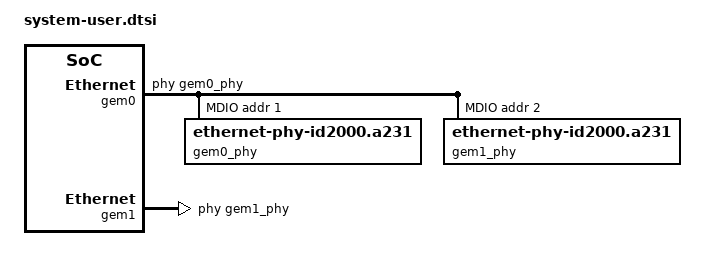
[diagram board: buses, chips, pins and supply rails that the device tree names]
// SPDX-License-Identifier: MIT
// Copyright (C) 2025-2026, Opsero Electronic Design Inc.  All rights reserved.

/*
 * SoC-side board fixups for vmk180 (Versal), layered on top of the
 * gen-machineconf / lopper-generated Linux device tree (which already carries
 * the PS config and the design's PL hardware from the XSA). Scoped to the Linux
 * domain by device-tree.bbappend. Ported from the Ethernet FMC Max AXI Ethernet PetaLinux BSP.
 */

/* Board RJ45s (GEM0 = u198 PHY, GEM1 = u134 PHY): the SDT flow does not
 * describe the board-level TI DP83867 PHYs, so Linux falls back to the
 * Generic PHY driver and the RGMII clock delays are never programmed -
 * the link negotiates 1G but passes no packets. Both PHYs sit on GEM0's
 * MDIO bus (GEM1 has no MDIO: xlnx,has-mdio=0, matching the board).
 * Values from the official versal-vmk180-revA.dts (VMK180 = VCK190 for
 * Ethernet); reset-gpios omitted because the SDT device tree does not define the
 * gpio1 label - the PHYs power up out of reset from straps.
 * No fixed MAC: the MAC stays random per boot (add a local-mac-address
 * property to pin one).
 * Ported from the 2x-qsfp28-fmc vck190 Yocto BSP (HW-verified on VCK190).
 */
&gem0 {
	phy-handle = <&gem0_phy>;
	mdio {
		#address-cells = <1>;
		#size-cells = <0>;
		gem0_phy: ethernet-phy@1 {
			compatible = "ethernet-phy-id2000.a231";
			reg = <1>;
			ti,rx-internal-delay = <0xb>;
			ti,tx-internal-delay = <0xa>;
			ti,fifo-depth = <0x1>;
			ti,dp83867-rxctrl-strap-quirk;
		};
		gem1_phy: ethernet-phy@2 {
			compatible = "ethernet-phy-id2000.a231";
			reg = <2>;
			ti,rx-internal-delay = <0xb>;
			ti,tx-internal-delay = <0xa>;
			ti,fifo-depth = <0x1>;
			ti,dp83867-rxctrl-strap-quirk;
		};
	};
};
&gem1 {
	phy-handle = <&gem1_phy>;
};
